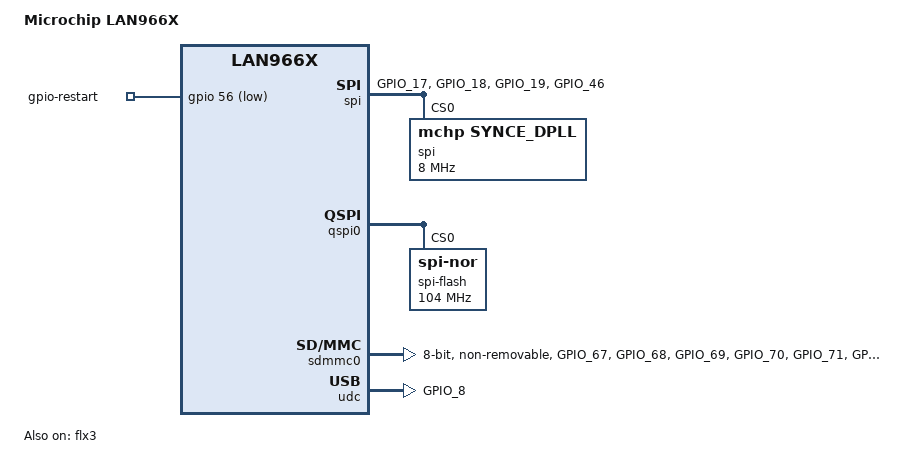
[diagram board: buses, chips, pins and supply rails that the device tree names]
// SPDX-License-Identifier: (GPL-2.0+ OR MIT)
/*
 * lan966x-appl-pcb8290.dts - Device Tree file for PCB8290
 */
/dts-v1/;
#include "lan966x.dtsi"

/ {
	model = "Microchip LAN966X";
	compatible = "microchip,lan966x-sunrise", "microchip,lan966x";

	aliases {
		spi0 = &qspi0;
		spi1 = &spi;
	};

	gpio-restart {
		compatible = "gpio-restart";
		gpios = <&gpio 56 GPIO_ACTIVE_LOW>;
		priority = <200>;
	};
};

&aes {
	status = "disabled"; /* Reserved by secure OS */
};

&flx3 {
	compatible = "microchip,lan966x-flexcom";
	reg = <0xe0064000 0x00000100>, <0xe2004180 0x00000008>;
	atmel,flexcom-mode = <ATMEL_FLEXCOM_MODE_SPI>;
	microchip,flx-shrd-pins = <4>;
	microchip,flx-cs = <0>;
	status = "okay";

	spi: spi@400 {
		compatible = "atmel,at91rm9200-spi";
		reg = <0x400 0x200>;
		interrupts = <GIC_SPI 51 IRQ_TYPE_LEVEL_HIGH>;
		#address-cells = <1>;
		#size-cells = <0>;
		clocks = <&clks GCK_ID_FLEXCOM3>;
		clock-names = "spi_clk";
		assigned-clocks = <&clks GCK_ID_FLEXCOM3>;
		assigned-clock-rates = <200000000>;
		pinctrl-0 = <&fc3_a_pins>, <&fc_shrd4_pins>;
		pinctrl-names = "default";
		atmel,fifo-size = <32>;
		status = "okay";

		spi@0 {
			compatible = "mchp,synce_dpll";
			reg = <0>;
			spi-max-frequency = <8000000>;
		};
	};
};

&gpio {
	udc_pins: ucd-pins {
		/* VBUS_DET B */
		pins = "GPIO_8";
		function = "usb_slave_b";
	};

	fc3_a_pins: fca3_spi-pins {
		/* SCK, RXD, TXD */
		pins = "GPIO_17", "GPIO_18", "GPIO_19";
		function = "fc3_a";
	};

	fc_shrd4_pins: fc_shrd4-pins {
		pins = "GPIO_46";
		function = "fc_shrd4";
	};

	emmc_sd_pins: emmc-sd-pins {
		/* eMMC_SD - CMD, CLK, D0, D1, D2, D3, RSTN */
		pins = "GPIO_67", "GPIO_68", "GPIO_69", "GPIO_70",
			"GPIO_71", "GPIO_72", "GPIO_77";
		function = "emmc_sd";
	};

	emmc_pins: emmc-pins {
		/* eMMC - D4, D5, D6, D7 */
		pins = "GPIO_73", "GPIO_74", "GPIO_75", "GPIO_76";
		function = "emmc";
	};
};

&gpio {
	/delete-property/ interrupts;
	/delete-property/ interrupt-controller;
	/delete-property/ #interrupt-cells;
};

&qspi0 {
	status = "okay";

	spi-flash@0 {
		compatible = "jedec,spi-nor";
		reg = <0>;
		spi-max-frequency = <104000000>;
		#address-cells = <1>;
		#size-cells = <1>;
		spi-tx-bus-width = <4>;
		spi-rx-bus-width = <4>;
		m25p,fast-read;
	};
};

&sdmmc0 {
	bus-width = <8>;
	cap-mmc-highspeed;
	cap-mmc-hw-reset;
	non-removable;
	pinctrl-0 = <&emmc_sd_pins>, <&emmc_pins>;
	pinctrl-names = "default";
	no-1-8-v;
	tx-phase = <0>; /* 180 degrees phase shift */
	status = "okay";
};

&soc {
	lan966x_switch_vtss: switch_vtss@0 {
		compatible = "mchp,lan966x-switch-appl";
		reg = <0xe2008000 0x0000004c>;
		reg-names = "qs";

		interrupts = <GIC_SPI 12 IRQ_TYPE_LEVEL_HIGH>;
		interrupt-names = "xtr";
	};

	ifmux: switch_ifmux@0 {
		compatible = "microchip,lan966x-ifmux";
		status = "okay";
	};
};

&udc {
	pinctrl-0 = <&udc_pins>;
	pinctrl-names = "default";
	atmel,vbus-gpio = <&gpio 8 GPIO_ACTIVE_HIGH>;
	status = "okay";
};

&uio0 {
	interrupts = <GIC_SPI 19 IRQ_TYPE_LEVEL_HIGH>,
		     <GIC_SPI 10 IRQ_TYPE_LEVEL_HIGH>,
		     <GIC_SPI 11 IRQ_TYPE_LEVEL_HIGH>,
		     <GIC_SPI  9 IRQ_TYPE_LEVEL_HIGH>,
		     <GIC_SPI 80 IRQ_TYPE_LEVEL_HIGH>,
		     <GIC_SPI 81 IRQ_TYPE_LEVEL_HIGH>,
		     <GIC_SPI 18 IRQ_TYPE_LEVEL_HIGH>,
		     <GIC_SPI 17 IRQ_TYPE_LEVEL_HIGH>;
	interrupt-names = "master", "ptp_sync", "ptp_rdy",
			  "oam_vop", "cu_phy0", "cu_phy1",
			  "sgpio", "gpio";
};
